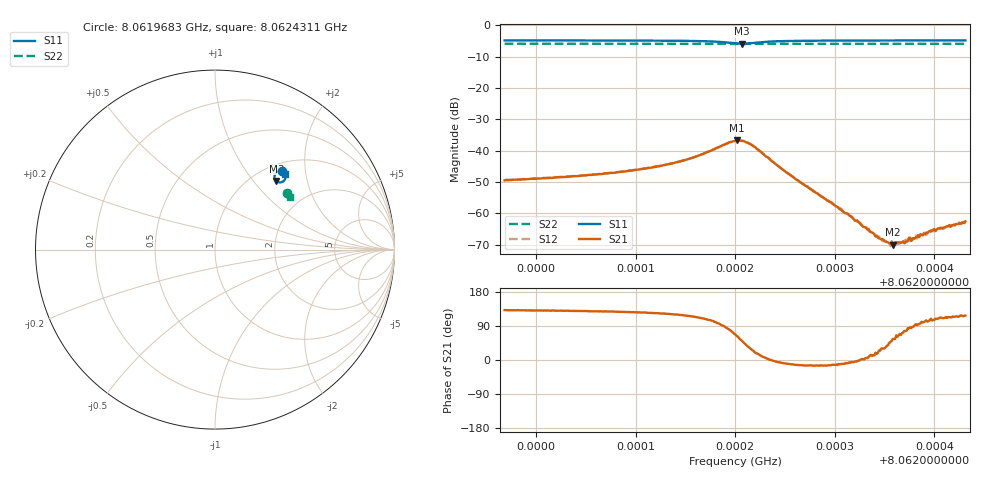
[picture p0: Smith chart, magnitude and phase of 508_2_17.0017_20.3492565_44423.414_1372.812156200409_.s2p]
#  HZ  S  RI  R  50.00
! Rohde & Schwarz Vector Network Analyzer
! Rohde-Schwarz,ZNB20-2Port,1311601062101988,3.16
! Created: UTC 3/20/2024, 11:14:53 PM
! freq[Hz]  re:S11  im:S11  re:S21  im:S21  re:S12  im:S12  re:S22  im:S22
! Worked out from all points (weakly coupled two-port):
!   401 points, 8.0619683 GHz to 8.0624311 GHz, reference 50 ohm
!   highest |S21| = -36.71 dB at 8.062202 GHz (marker M1); lowest = -70.0 dB at 8.0623582 GHz (marker M2)
!   lowest |S11| = -5.8 dB at 8.0622067 GHz (marker M3), VSWR 3.10, Z = 63.7 + j66 ohm
!   |S11| at or under -10 dB: nowhere
!   |S22| runs from -5.9 to -5.8 dB; largest |S21 - S12| = 0.00094
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8.06196835e9  0.3747 0.4375  -0.00223 0.0025  -0.0021 0.00268  0.4024 0.3132
8.06204586e9  0.381 0.4315  -0.00254 0.00311  -0.00239 0.00324  0.4054 0.3092
8.06208866e9  0.385 0.4269  -0.0028 0.00373  -0.0026 0.00394  0.407 0.3071
8.06212336e9  0.3886 0.421  -0.00307 0.00473  -0.00281 0.00496  0.4082 0.305
8.06215807e9  0.3924 0.4089  -0.00324 0.00711  -0.00277 0.00732  0.4094 0.3027
8.06219971e9  0.3593 0.3745  0.00539 0.0132  0.00623 0.013  0.4088 0.2997
8.06220203e9  0.3533 0.3757  0.00677 0.0129  0.00753 0.0125  0.4087 0.2998
8.06220665e9  0.342 0.3819  0.00904 0.0111  0.00983 0.0107  0.4084 0.2999
8.06221822e9  0.3316 0.4091  0.0107 0.00483  0.0112 0.00415  0.4087 0.3008
8.0622483e9  0.3568 0.4353  0.00483 -0.000719  0.00488 -0.001  0.4112 0.3003
8.06227722e9  0.3702 0.4349  0.00226 -0.000596  0.00225 -0.00072  0.4129 0.2987
8.06231424e9  0.3784 0.4317  0.000923 -0.000104  0.000916 -0.00019  0.4144 0.2966
8.06234316e9  0.3824 0.4295  0.000395 0.000134  0.000391 0.000131  0.4154 0.295
8.06235473e9  0.3838 0.4286  0.000235 0.000238  0.000257 0.000209  0.4159 0.2943
8.0623582e9  0.3842 0.4284  0.000178 0.000262  0.000218 0.000287  0.4159 0.2942
8.06236514e9  0.3848 0.4279  0.000124 0.000319  0.00012 0.000306  0.4161 0.2938
8.06236861e9  0.3852 0.4277  0.000107 0.00034  0.000154 0.000318  0.4165 0.2939
8.06237555e9  0.3859 0.4271  2.62e-05 0.000408  7.39e-05 0.000386  0.4166 0.2934
8.06238365e9  0.3867 0.4266  -3.43e-05 0.000443  -2.12e-05 0.000446  0.4168 0.2929
8.06239522e9  0.3877 0.4258  -0.000127 0.000505  -9.23e-05 0.000512  0.4173 0.2924
8.06241026e9  0.389 0.4249  -0.000217 0.000557  -0.000198 0.000552  0.4177 0.2915
8.06243108e9  0.3907 0.4235  -0.000343 0.000661  -0.00033 0.00069  0.4186 0.2906
